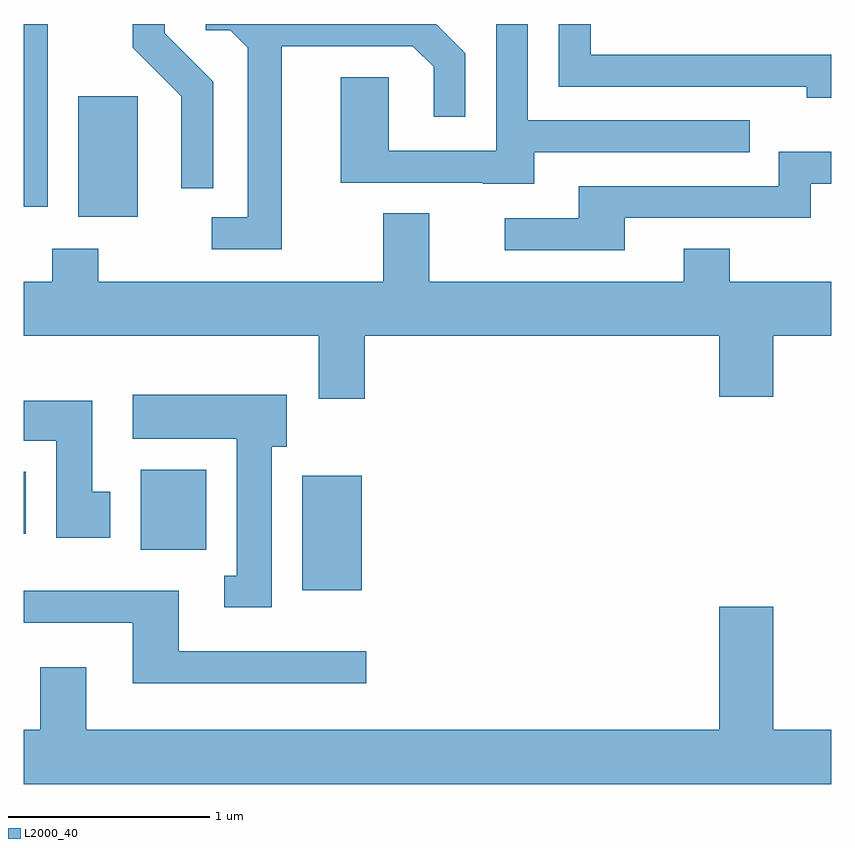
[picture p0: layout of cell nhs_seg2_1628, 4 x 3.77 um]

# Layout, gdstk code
import gdstk
lib = gdstk.Library(unit=1e-6, precision=1e-09)
def R(c, l, rs):  # rectangles x0, y0, x1, y1
    for r in rs: c.add(gdstk.rectangle(r[:2], r[2:], *l))
def P(c, l, *ps):  # polygons
    for p in ps: c.add(gdstk.Polygon(p, *l))
L2000_40 = (2000, 40)

nhs_seg2_1628 = lib.new_cell('nhs_seg2_1628')
R(nhs_seg2_1628, L2000_40, [(232.991,1106.996,233.284,1107.564), (232.191,1107.196,232.514,1107.594), (231.611,1107.276,231.619,1107.584), (231.881,1108.846,232.174,1109.444), (231.611,1108.896,231.729,1109.802)])
P(nhs_seg2_1628, L2000_40, [(234.139,1109.166),(235.208,1109.166),(235.208,1109.324),(234.109,1109.324),(234.109,1109.802),(233.951,1109.802),(233.951,1109.174),(233.419,1109.174),(233.419,1109.539),(233.181,1109.539),(233.181,1109.016),(233.885,1109.016),(233.885,1109.011),(234.139,1109.011)],
  [(232.889,1109.691),(233.539,1109.691),(233.641,1109.589),(233.641,1109.343),(233.799,1109.343),(233.799,1109.657),(233.654,1109.802),(232.513,1109.802),(232.513,1109.771),(232.634,1109.771),(232.721,1109.684),(232.721,1108.844),(232.543,1108.844),(232.543,1108.686),(232.889,1108.686)],
  [(235.611,1109.649),(234.419,1109.649),(234.419,1109.802),(234.261,1109.802),(234.261,1109.491),(235.491,1109.491),(235.491,1109.436),(235.611,1109.436)],
  [(232.549,1109.517),(232.309,1109.757),(232.309,1109.802),(232.151,1109.802),(232.151,1109.684),(232.391,1109.444),(232.391,1108.988),(232.549,1108.988)],
  [(234.589,1108.841),(235.509,1108.841),(235.509,1109.011),(235.611,1109.011),(235.611,1109.169),(235.351,1109.169),(235.351,1108.999),(234.361,1108.999),(234.361,1108.839),(233.993,1108.839),(233.993,1108.681),(234.589,1108.681)],
  [(233.299,1108.256),(235.056,1108.256),(235.056,1107.956),(235.324,1107.956),(235.324,1108.256),(235.611,1108.256),(235.611,1108.524),(235.109,1108.524),(235.109,1108.689),(234.881,1108.689),(234.881,1108.524),(233.619,1108.524),(233.619,1108.864),(233.391,1108.864),(233.391,1108.524),(231.979,1108.524),(231.979,1108.689),(231.751,1108.689),(231.751,1108.524),(231.611,1108.524),(231.611,1108.256),(233.071,1108.256),(233.071,1107.946),(233.299,1107.946)],
  [(232.839,1107.706),(232.914,1107.706),(232.914,1107.964),(232.151,1107.964),(232.151,1107.746),(232.666,1107.746),(232.666,1107.069),(232.603,1107.069),(232.603,1106.911),(232.839,1106.911)],
  [(232.039,1107.484),(231.949,1107.484),(231.949,1107.934),(231.611,1107.934),(231.611,1107.736),(231.771,1107.736),(231.771,1107.256),(232.039,1107.256)],
  [(233.308,1106.694),(232.379,1106.694),(232.379,1106.994),(231.611,1106.994),(231.611,1106.836),(232.151,1106.836),(232.151,1106.536),(233.308,1106.536)],
  [(235.056,1106.914),(235.056,1106.304),(231.919,1106.304),(231.919,1106.614),(231.691,1106.614),(231.691,1106.304),(231.611,1106.304),(231.611,1106.036),(235.611,1106.036),(235.611,1106.304),(235.324,1106.304),(235.324,1106.914)])

lib.write_gds('nhs_seg2_1628.gds')
